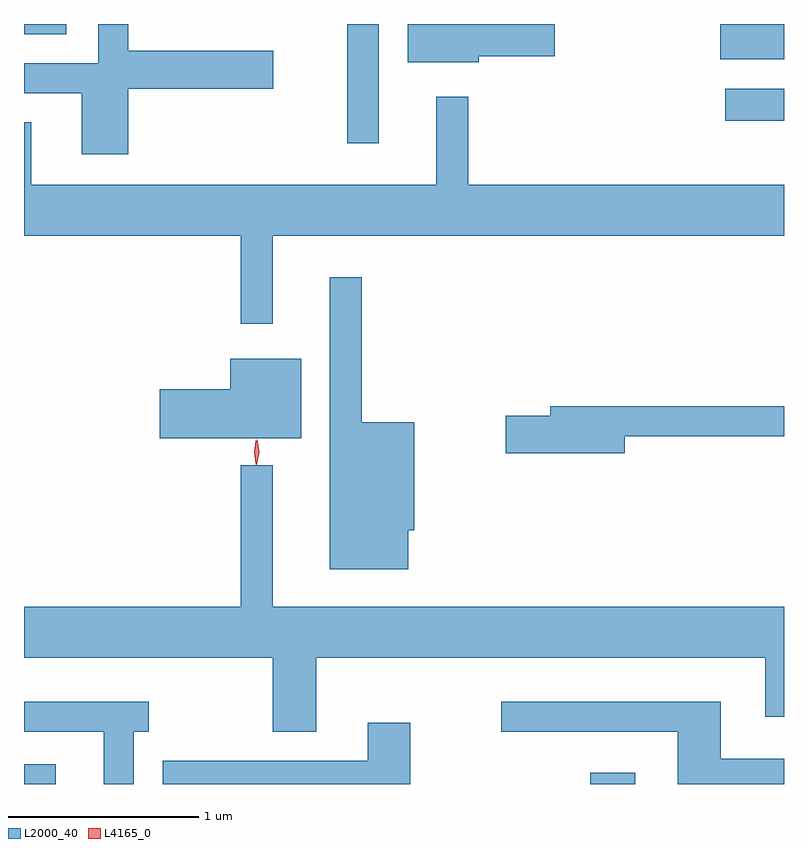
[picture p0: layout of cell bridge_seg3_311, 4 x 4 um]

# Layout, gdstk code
import gdstk
lib = gdstk.Library(unit=1e-6, precision=1e-09)
def R(c, l, rs):  # rectangles x0, y0, x1, y1
    for r in rs: c.add(gdstk.rectangle(r[:2], r[2:], *l))
def P(c, l, *ps):  # polygons
    for p in ps: c.add(gdstk.Polygon(p, *l))
L2000_40 = (2000, 40)
L4165_0 = (4165, 0)

bridge_seg3_311 = lib.new_cell('bridge_seg3_311')
R(bridge_seg3_311, L2000_40, [(537.591,1154.211,537.758,1154.314), (540.571,1154.211,540.808,1154.269), (539.291,1157.583,539.459,1158.211), (541.283,1157.701,541.591,1157.869), (541.256,1158.026,541.591,1158.211), (537.591,1158.156,537.814,1158.211)])
P(bridge_seg3_311, L2000_40, [(539.984,1158.041),(540.384,1158.041),(540.384,1158.211),(539.611,1158.211),(539.611,1158.011),(539.984,1158.011)],
  [(538.139,1157.871),(538.904,1157.871),(538.904,1158.069),(538.139,1158.069),(538.139,1158.211),(537.981,1158.211),(537.981,1158.004),(537.591,1158.004),(537.591,1157.846),(537.896,1157.846),(537.896,1157.526),(538.139,1157.526)],
  [(538.899,1157.096),(541.591,1157.096),(541.591,1157.364),(539.929,1157.364),(539.929,1157.828),(539.761,1157.828),(539.761,1157.364),(537.629,1157.364),(537.629,1157.694),(537.591,1157.694),(537.591,1157.096),(538.731,1157.096),(538.731,1156.633),(538.899,1156.633)],
  [(539.614,1155.546),(539.644,1155.546),(539.644,1156.114),(539.369,1156.114),(539.369,1156.878),(539.201,1156.878),(539.201,1155.341),(539.614,1155.341)],
  [(539.049,1156.449),(538.676,1156.449),(538.676,1156.289),(538.306,1156.289),(538.306,1156.031),(539.049,1156.031)],
  [(540.754,1156.041),(541.591,1156.041),(541.591,1156.199),(540.361,1156.199),(540.361,1156.149),(540.126,1156.149),(540.126,1155.951),(540.754,1155.951)],
  [(539.129,1154.876),(541.491,1154.876),(541.491,1154.566),(541.591,1154.566),(541.591,1155.144),(538.899,1155.144),(538.899,1155.888),(538.731,1155.888),(538.731,1155.144),(537.591,1155.144),(537.591,1154.876),(538.901,1154.876),(538.901,1154.486),(539.129,1154.486)],
  [(538.169,1154.486),(538.248,1154.486),(538.248,1154.644),(537.591,1154.644),(537.591,1154.486),(538.011,1154.486),(538.011,1154.211),(538.169,1154.211)],
  [(541.591,1154.344),(541.259,1154.344),(541.259,1154.644),(540.103,1154.644),(540.103,1154.486),(541.031,1154.486),(541.031,1154.211),(541.591,1154.211)],
  [(539.624,1154.534),(539.401,1154.534),(539.401,1154.334),(538.321,1154.334),(538.321,1154.211),(539.624,1154.211)])
P(bridge_seg3_311, L4165_0, [(538.812,1155.893),(538.812,1155.894),(538.802,1155.956),(538.812,1156.02),(538.812,1156.02),(538.813,1156.02),(538.822,1155.956),(538.813,1155.894)],
  [(538.816,1155.89),(538.808,1155.958),(538.818,1156.026),(538.818,1156.026),(538.819,1156.026),(538.828,1155.958),(538.817,1155.89),(538.817,1155.89)])

lib.write_gds('bridge_seg3_311.gds')
